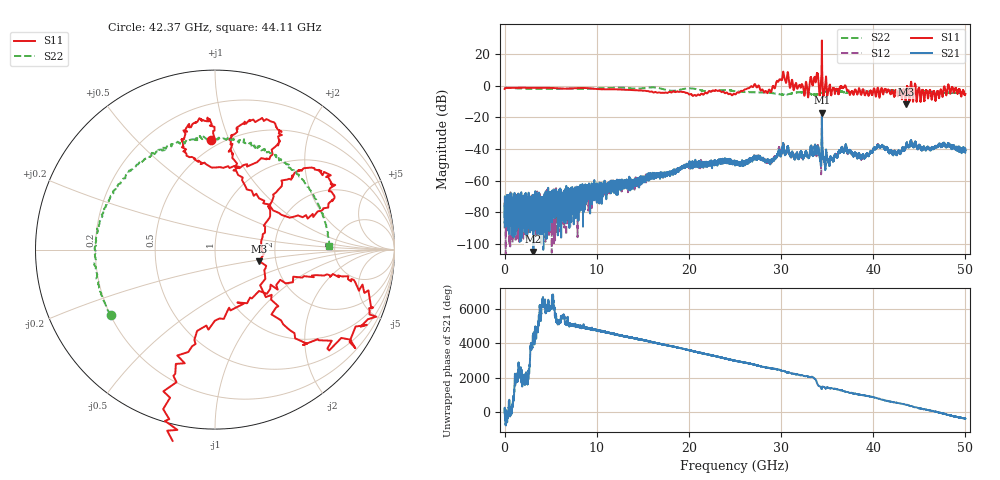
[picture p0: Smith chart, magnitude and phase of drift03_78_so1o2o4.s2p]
!Created with skrf (http://scikit-rf.org).
# Hz S RI R 50.0
!freq ReS11 ImS11 ReS21 ImS21 ReS12 ImS12 ReS22 ImS22
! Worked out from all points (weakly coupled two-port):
!   10000 points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, 5.3 MHz to 50 GHz, reference 50 ohm
!   highest |S21| = -17.19 dB at 34.43 GHz (marker M1); lowest = -104.9 dB at 3.125 GHz (marker M2)
!   lowest |S11| = -11.9 dB at 43.53 GHz (marker M3), VSWR 1.68, Z = 81.8 - j11.2 ohm
!   |S11| at or under -10 dB: 43.48362 GHz to 43.54856 GHz (64.94 MHz wide, 0.149 % of centre); 44.31204 GHz to 44.31929 GHz (7.244 MHz wide, 0.0163 % of centre); 44.32115 GHz to 44.33063 GHz (9.476 MHz wide, 0.0214 % of centre) (the widest 3 of 5)
!   |S22| runs from -5.8 to -1.1 dB; largest |S21 - S12| = 0.034
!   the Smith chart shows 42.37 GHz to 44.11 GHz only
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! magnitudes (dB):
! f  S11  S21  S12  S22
! 5.3 MHz  -2.1  -76.0  -90.2  -1.3
! 3.125 GHz  -1.4  -104.9  -73.0  -2.0
! 8.34 GHz  -1.5  -72.8  -68.5  -2.1
! 16.67 GHz  -4.4  -55.6  -55.4  -1.4
! 20.28 GHz  -5.5  -50.4  -50.9  -1.7
! 25.01 GHz  -5.5  -48.9  -48.5  -3.5
! 27.02 GHz  -0.3  -45.7  -44.9  -4.2
! 28.72 GHz  -2.5  -47.7  -47.8  -4.5
! 30.14 GHz  4.5  -40.3  -40.1  -5.6
! 32.74 GHz  2.0  -42.2  -41.9  -4.6
! 33.34 GHz  2.5  -39.8  -40.7  -5.5
! 33.82 GHz  4.0  -41.1  -42.4  -5.7
! 34.43 GHz  28.5  -17.2  -18.9  -4.6
! 35.29 GHz  0.6  -49.0  -47.7  -3.3
! 36.84 GHz  -0.8  -41.8  -41.7  -4.1
! 38.87 GHz  -2.3  -44.4  -43.4  -3.2
! 40.6 GHz  -4.6  -37.9  -38.6  -4.0
! 41.67 GHz  -2.8  -41.5  -42.3  -3.3
! 43.53 GHz  -11.9  -38.6  -38.3  -4.1
! 46.94 GHz  -3.6  -38.6  -38.9  -4.8
! 48.32 GHz  -4.4  -38.5  -38.3  -4.6
! 50 GHz  -5.2  -40.1  -41.1  -4.5
